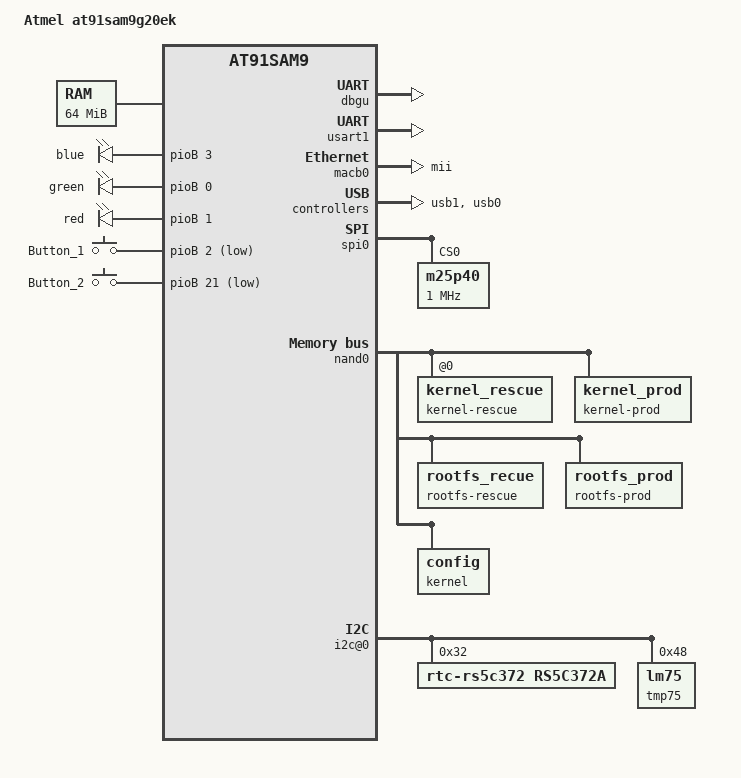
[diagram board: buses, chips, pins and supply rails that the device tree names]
/*
 * dss1gb.dts - Device Tree file for digitalSTROM dSS11-1GB
 *
 *  Copyright (C) 2014 Ulrich Prinz <ulrich.prinz@digitalstrom.com>
 *
 * Licensed under GPLv2 or later.
 */

/dts-v1/;
#include "at91sam9g20.dtsi"

/ {
/*
	model = "dititalSTROM dSS11-1GB";
	compatible = "digitalstrom,dss11-1gb", "atmel,at91sam9g20", "atmel,at91sam9";
*/
	model = "Atmel at91sam9g20ek";
	compatible = "atmel,at91sam9g20ek", "atmel,at91sam9g20", "atmel,at91sam9";

	chosen {
		bootargs = "mem=64M console=ttyS0,115200 root=ubi0:dss11-1gb-rootfs rw rootfstype=ubifs";
	};

	memory {
		reg = <0x20000000 0x4000000>;
	};

	clocks {
		#address-cells = <1>;
		#size-cells = <1>;
		ranges;

		main_clock: clock@0 {
			compatible = "atmel,osc", "fixed-clock";
			clock-frequency = <18432000>;
		};
	};

	ahb {
		apb {
			pinctrl@fffff400 {
				board {
					pinctrl_pck0_as_mck: pck0_as_mck {
						atmel,pins =
							<AT91_PIOC 1 AT91_PERIPH_B AT91_PINCTRL_NONE>;	/* PC1 periph B */
					};

				};

				mmc0_slot1 {
					pinctrl_board_mmc0_slot1: mmc0_slot1-board {
						atmel,pins =
							<AT91_PIOC 9 AT91_PERIPH_GPIO AT91_PINCTRL_PULL_UP_DEGLITCH>;	/* PC9 gpio CD pin pull up and deglitch */
					};
				};

				usart1 {
					pinctrl_usart1: usart1-0 {
						atmel,pins =
							<AT91_PIOB 6 AT91_PERIPH_A AT91_PINCTRL_PULL_UP	/* PB6 periph A with pullup */
							 AT91_PIOB 7 AT91_PERIPH_A AT91_PINCTRL_NONE>;	/* PB7 periph A */
					};

					pinctrl_usart1_rts: usart1_rts-0 {
						atmel,pins =
							<AT91_PIOB 28 AT91_PERIPH_A AT91_PINCTRL_PULL_UP>;	/* PB28 periph A */
					};

					pinctrl_usart1_cts: usart1_cts-0 {
						atmel,pins =
							<AT91_PIOB 29 AT91_PERIPH_A AT91_PINCTRL_NONE>;	/* PB29 periph A */
					};
				};

				gpio_keys {
					pinctrl_btn1: btn1 {
						atmel,pins =
							<AT91_PIOB 2 AT91_PERIPH_GPIO AT91_PINCTRL_PULL_UP_DEGLITCH>;
					};

					pinctrl_btn2: btn2 {
						atmel,pins =
							<AT91_PIOB 21 AT91_PERIPH_GPIO AT91_PINCTRL_PULL_UP_DEGLITCH>;
					};
				};

				i2c0 {
					pinctrl_i2c0: i2c0-0 {
						atmel,pins =
							<AT91_PIOA 23 AT91_PERIPH_A AT91_PINCTRL_MULTI_DRIVE	/* TWD (SDA), open drain */
							 AT91_PIOA 24 AT91_PERIPH_A AT91_PINCTRL_MULTI_DRIVE>;	/* TWCK (SCL), open drain */
					};
				};
			};

			dbgu: serial@fffff200 {
				status = "okay";
			};

			usart1: serial@fffb4000 {
				pinctrl-0 =
					<&pinctrl_usart1
					 &pinctrl_usart1_rts>;
				rs485-rts-delay = <0 0>;
				rs485-rx-during-tx;
				linux,rs485-enabled-at-boot-time;
				atmel,use-dma-rx;
				atmel,use-dma-tx;
				status = "okay";
			};

			macb0: ethernet@fffc4000 {
				phy-mode = "mii";
				status = "okay";
			};

			usb1: gadget@fffa4000 {
				atmel,vbus-gpio = <&pioC 5 GPIO_ACTIVE_HIGH>;
				status = "okay";
			};

/*	MMC0 is not populated on DSS11-1G
			mmc0: mmc@fffa8000 {
				pinctrl-0 = <
					&pinctrl_board_mmc0_slot1
					&pinctrl_mmc0_clk
					&pinctrl_mmc0_slot1_cmd_dat0
					&pinctrl_mmc0_slot1_dat1_3>;
				status = "okay";
				slot@1 {
					reg = <1>;
					bus-width = <4>;
					cd-gpios = <&pioC 9 GPIO_ACTIVE_HIGH>;
				};
			};
*/
			ssc0: ssc@fffbc000 {
				status = "okay";
				pinctrl-0 = <&pinctrl_ssc0_tx>;
			};

			spi0: spi@fffc8000 {
				status = "okay";
				cs-gpios = <0>, <&pioC 11 0>, <0>, <0>;
				m25p40@0 {
					compatible = "m25p40";
					spi-max-frequency = <1000000>;	/* Reduced speed */
					reg = <0>;
				};
			};

			watchdog@fffffd40 {
				status = "disabled";
			};
		};

		nand0: nand@40000000 {
			nand-bus-width = <8>;
			nand-ecc-mode = "soft_bch";
			status = "okay";

			kernel_rescue@0 {
				label = "kernel-rescue";
				reg = <0x0 0x400000>;
			};

			kernel_prod@400000 {
				label = "kernel-prod";
				reg = <0x400000 0x800000>;
			};

			rootfs_recue@0x800000 {
				label = "rootfs-rescue";
				reg = <0x800000 0x2800000>;
			};

			rootfs_prod@0x2800000 {
				label = "rootfs-prod";
				reg = <0x2800000 0x3f800000>;
			};
/*
			oftree@80000 {
				label = "oftree";
				reg = <0xa0000 0x20000>;
			};
*/

			config@0x3f800000 {
				label = "kernel";
				reg = <0x3f800000 0x40000000>;
			};
		};

		rtc@fffffd30 {
			compatible = "atmel,at91rm9200-rtc";
			reg = <0xfffffd30 0x10>;
			interrupts = <1 4 7>;
		};

		usb0: ohci@00500000 {
			num-ports = <2>;
			status = "okay";
		};
	
	};

	i2c@0 {
		status = "okay";

		rs5c372a@32 {
			compatible = "rtc-rs5c372,rs5c372a";
			reg = <0x32>;
		};
		
		tmp75@48 {
			compatible = "lm75";
			reg = <0x48>;
		};
	};

	leds {
		compatible = "gpio-leds";
		led_blue {
			label = "blue";
			gpios = <&pioB 3 GPIO_ACTIVE_HIGH>;
			linux,default-trigger = "heartbeat";
		};

		led_green {
			label = "green";
			gpios = <&pioB 0 GPIO_ACTIVE_HIGH>;
			linux,default-trigger = "none";
		};

		led_red {
			label = "red";
			gpios = <&pioB 1 GPIO_ACTIVE_HIGH>;
			linux,default-trigger = "none";
		};
	};

	gpio_keys {
		compatible = "gpio-keys";
		#address-cells = <1>;
		#size-cells = <0>;

		btn1 {
			label = "Button_1";
			gpios = <&pioB 2 GPIO_ACTIVE_LOW>;
			linux,code = <0x101>;
			gpio-key,wakeup;
		};

		btn2 {
			label = "Button_2";
			gpios = <&pioB 21 GPIO_ACTIVE_LOW>;
			linux,code = <0x102>;
			gpio-key,wakeup;
		};
	};
};
